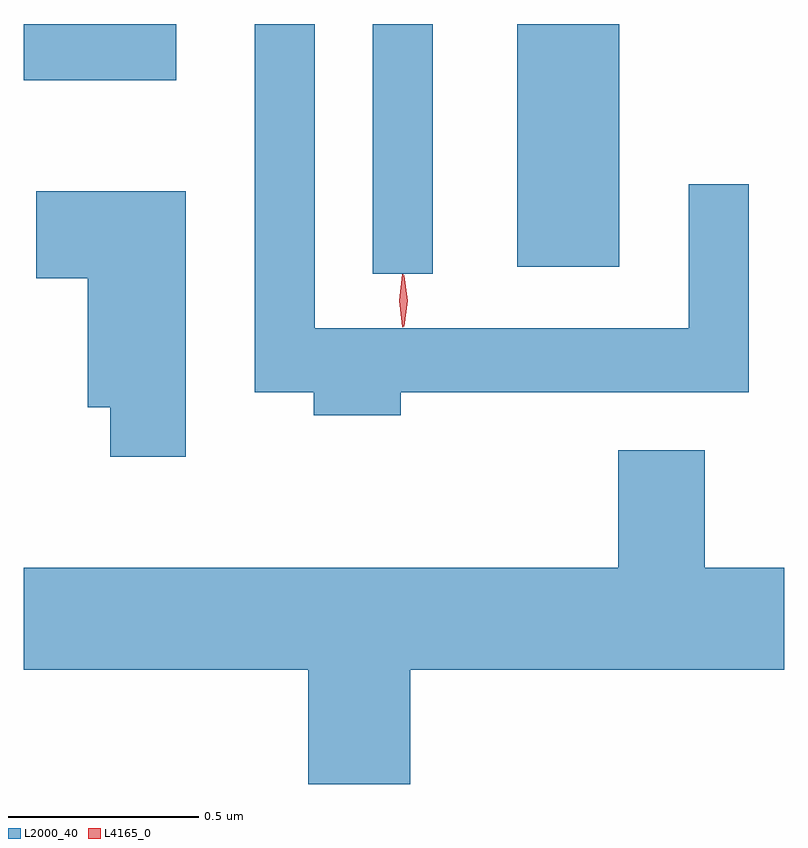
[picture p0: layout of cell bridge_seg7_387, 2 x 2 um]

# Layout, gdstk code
import gdstk
lib = gdstk.Library(unit=1e-6, precision=1e-09)
def R(c, l, rs):  # rectangles x0, y0, x1, y1
    for r in rs: c.add(gdstk.rectangle(r[:2], r[2:], *l))
def P(c, l, *ps):  # polygons
    for p in ps: c.add(gdstk.Polygon(p, *l))
L2000_40 = (2000, 40)
L4165_0 = (4165, 0)

bridge_seg7_387 = lib.new_cell('bridge_seg7_387')
R(bridge_seg7_387, L2000_40, [(1154.306,1766.418,1154.464,1767.074), (1154.686,1766.436,1154.954,1767.074), (1153.388,1766.926,1153.789,1767.074)])
P(bridge_seg7_387, L2000_40, [(1154.379,1766.106),(1155.294,1766.106),(1155.294,1766.653),(1155.136,1766.653),(1155.136,1766.274),(1154.154,1766.274),(1154.154,1767.073),(1153.996,1767.073),(1153.996,1766.106),(1154.151,1766.106),(1154.151,1766.046),(1154.379,1766.046)],
  [(1153.814,1766.634),(1153.421,1766.634),(1153.421,1766.406),(1153.556,1766.406),(1153.556,1766.066),(1153.616,1766.066),(1153.616,1765.936),(1153.814,1765.936)],
  [(1154.404,1765.376),(1155.388,1765.376),(1155.388,1765.644),(1155.179,1765.644),(1155.179,1765.954),(1154.951,1765.954),(1154.951,1765.644),(1153.388,1765.644),(1153.388,1765.376),(1154.136,1765.376),(1154.136,1765.076),(1154.404,1765.076)])
P(bridge_seg7_387, L4165_0, [(1154.387,1766.28),(1154.378,1766.346),(1154.387,1766.412),(1154.388,1766.413),(1154.388,1766.412),(1154.398,1766.346),(1154.388,1766.28),(1154.388,1766.28)],
  [(1154.385,1766.277),(1154.384,1766.278),(1154.375,1766.347),(1154.384,1766.416),(1154.385,1766.416),(1154.386,1766.416),(1154.395,1766.347),(1154.386,1766.278)])

lib.write_gds('bridge_seg7_387.gds')
